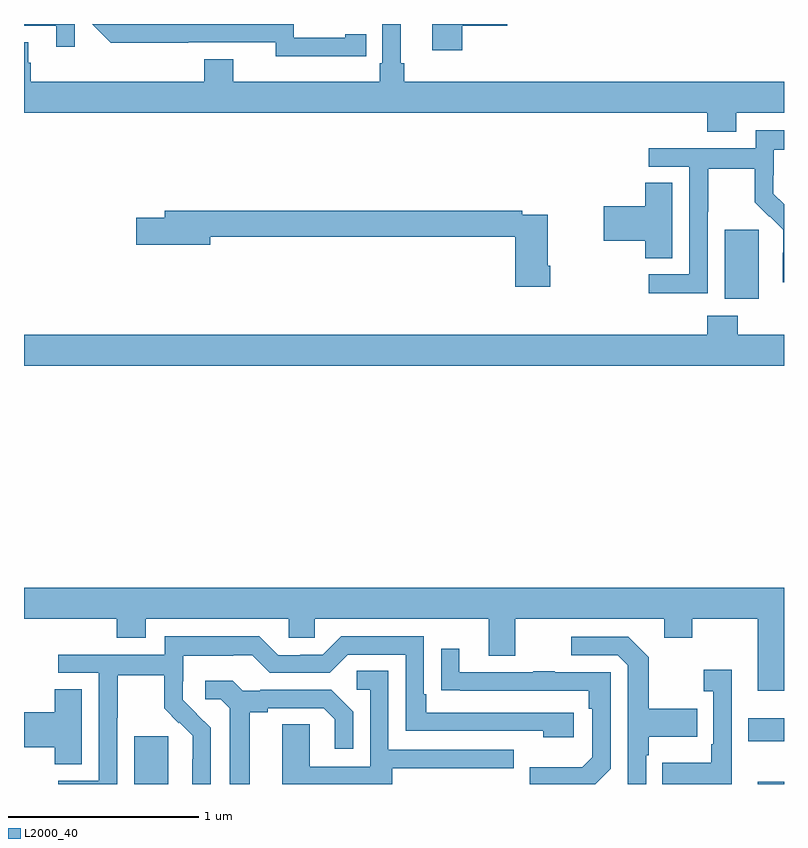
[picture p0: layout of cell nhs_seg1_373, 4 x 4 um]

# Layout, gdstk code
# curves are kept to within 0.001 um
import gdstk
lib = gdstk.Library(unit=1e-6, precision=1e-09)
def R(c, l, rs):  # rectangles x0, y0, x1, y1
    for r in rs: c.add(gdstk.rectangle(r[:2], r[2:], *l))
def P(c, l, *ps):  # polygons
    for p in ps: c.add(gdstk.Polygon(p, *l))
L2000_40 = (2000, 40)

nhs_seg1_373 = lib.new_cell('nhs_seg1_373')
R(nhs_seg1_373, L2000_40, [(131.579,548.199,131.758,548.451), (134.861,548.199,135,548.212), (134.811,548.423,135,548.545), (134.687,550.754,134.866,551.115)])
P(nhs_seg1_373, L2000_40, [(134.749,551.732),(135,551.732),(135,551.896),(133.001,551.896),(133.001,551.992),(132.982,551.992),(132.982,552.199),(132.885,552.199),(132.885,551.992),(132.872,551.992),(132.872,551.896),(132.1,551.896),(132.1,552.013),(131.948,552.013),(131.948,551.896),(131.036,551.896),(131.036,551.994),(131.023,551.994),(131.023,552.104),(131,552.104),(131,551.732),(134.597,551.732),(134.597,551.633),(134.749,551.633)],
  [(133.307,552.19),(133.543,552.19),(133.543,552.199),(133.148,552.199),(133.148,552.06),(133.307,552.06)],
  [(132.692,552.03),(132.8,552.03),(132.8,552.146),(132.692,552.146),(132.692,552.126),(132.42,552.126),(132.42,552.198),(131.358,552.199),(131.456,552.101),(132.324,552.102),(132.324,552.029)],
  [(131.268,552.199),(131,552.199),(131,552.189),(131.171,552.189),(131.171,552.078),(131.268,552.078)],
  [(134.598,551.212),(134.601,551.212),(134.601,551.436),(134.845,551.436),(134.845,551.261),(134.922,551.184),(134.925,551.187),(134.996,551.117),(134.996,550.994),(134.994,550.994),(134.994,550.84),(135,550.84),(135,551.25),(134.944,551.306),(134.944,551.403),(134.946,551.403),(134.946,551.537),(135,551.537),(135,551.641),(134.85,551.641),(134.85,551.544),(134.289,551.544),(134.289,551.448),(134.502,551.448),(134.502,550.881),(134.289,550.881),(134.289,550.783),(134.598,550.783)],
  [(134.413,551.363),(134.27,551.363),(134.27,551.24),(134.052,551.24),(134.052,551.057),(134.27,551.057),(134.27,550.966),(134.413,550.966)],
  [(133.769,550.927),(133.756,550.927),(133.756,551.196),(133.622,551.196),(133.622,551.216),(131.741,551.216),(131.741,551.18),(131.592,551.18),(131.592,551.038),(131.98,551.038),(131.98,551.08),(133.586,551.08),(133.586,550.815),(133.769,550.815)],
  [(135,550.564),(134.757,550.564),(134.757,550.663),(134.597,550.663),(134.597,550.564),(131,550.564),(131,550.4),(135,550.4)],
  [(135,549.232),(131,549.232),(131,549.068),(131.489,549.068),(131.489,548.969),(131.641,548.969),(131.641,549.068),(132.393,549.068),(132.393,548.97),(132.531,548.97),(132.531,549.068),(133.445,549.068),(133.445,548.874),(133.585,548.874),(133.585,549.068),(134.369,549.068),(134.369,548.969),(134.517,548.969),(134.517,549.068),(134.861,549.068),(134.861,548.691),(135,548.691)],
  [(131.49,548.548),(131.493,548.548),(131.493,548.772),(131.737,548.772),(131.737,548.597),(131.814,548.52),(131.817,548.523),(131.888,548.453),(131.888,548.33),(131.886,548.33),(131.886,548.199),(131.982,548.199),(131.982,548.494),(131.836,548.642),(131.836,548.739),(131.838,548.739),(131.838,548.873),(132.101,548.873),(132.101,548.877),(132.201,548.877),(132.294,548.784),(132.609,548.784),(132.705,548.88),(133.008,548.88),(133.008,548.478),(133.733,548.478),(133.733,548.444),(133.894,548.444),(133.894,548.574),(133.117,548.574),(133.117,548.671),(133.104,548.671),(133.104,548.976),(132.669,548.976),(132.573,548.88),(132.455,548.88),(132.455,548.877),(132.339,548.877),(132.239,548.977),(131.742,548.977),(131.742,548.88),(131.181,548.88),(131.181,548.784),(131.394,548.784),(131.394,548.217),(131.181,548.217),(131.181,548.199),(131.49,548.199)],
  [(134.274,548.351),(134.287,548.351),(134.287,548.447),(134.543,548.447),(134.543,548.595),(134.287,548.595),(134.287,548.867),(134.181,548.973),(133.881,548.973),(133.881,548.877),(134.124,548.877),(134.178,548.823),(134.178,548.199),(134.274,548.199)],
  [(134.088,548.28),(134.088,548.787),(133.793,548.787),(133.793,548.792),(133.681,548.792),(133.681,548.787),(133.291,548.787),(133.291,548.911),(133.195,548.911),(133.195,548.692),(133.972,548.691),(133.972,548.594),(133.992,548.594),(133.992,548.34),(133.939,548.287),(133.662,548.287),(133.662,548.199),(134.007,548.199)],
  [(134.724,548.8),(134.577,548.8),(134.577,548.687),(134.628,548.687),(134.628,548.407),(134.616,548.407),(134.616,548.311),(134.359,548.311),(134.359,548.199),(134.724,548.199)],
  [(132.937,548.283),(133.577,548.283),(133.577,548.379),(132.918,548.379),(132.918,548.795),(132.75,548.795),(132.75,548.694),(132.822,548.694),(132.822,548.289),(132.504,548.289),(132.504,548.513),(132.359,548.513),(132.359,548.199),(132.937,548.199)],
  [(132.187,548.576),(132.283,548.576),(132.283,548.598),(132.578,548.598),(132.635,548.541),(132.635,548.385),(132.732,548.385),(132.732,548.578),(132.616,548.694),(132.244,548.694),(132.244,548.691),(132.15,548.691),(132.098,548.743),(131.955,548.743),(131.955,548.646),(132.036,548.646),(132.083,548.599),(132.083,548.199),(132.187,548.199)],
  [(131.305,548.699),(131.162,548.699),(131.162,548.576),(131,548.576),(131,548.393),(131.162,548.393),(131.162,548.302),(131.305,548.302)])

lib.write_gds('nhs_seg1_373.gds')
